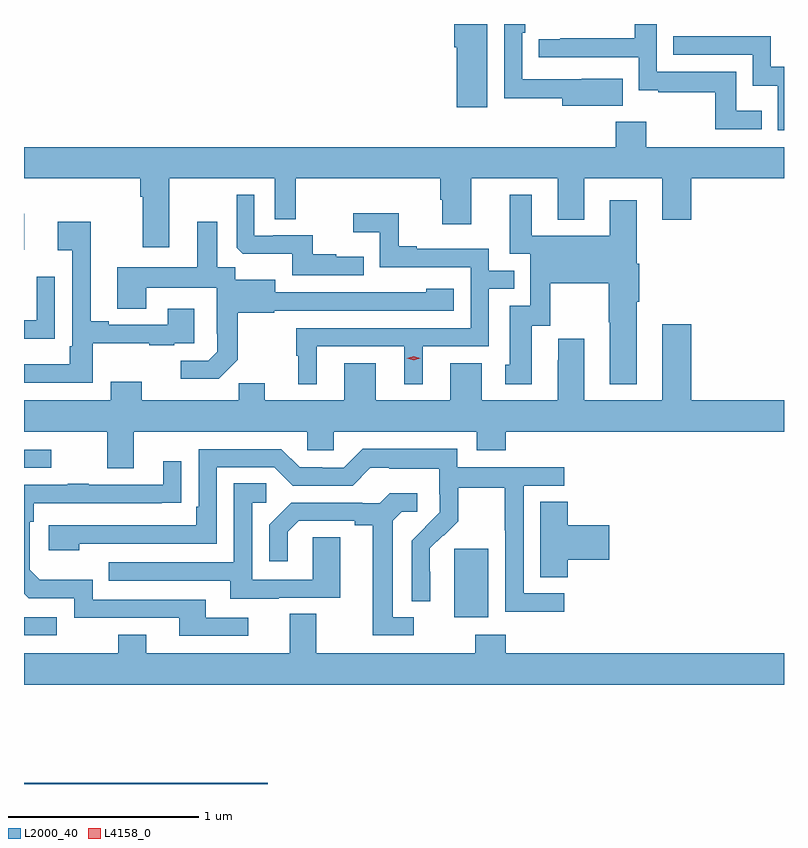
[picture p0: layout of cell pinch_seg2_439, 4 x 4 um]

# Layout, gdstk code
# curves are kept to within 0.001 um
import gdstk
lib = gdstk.Library(unit=1e-6, precision=1e-09)
def R(c, l, rs):  # rectangles x0, y0, x1, y1
    for r in rs: c.add(gdstk.rectangle(r[:2], r[2:], *l))
def P(c, l, *ps):  # polygons
    for p in ps: c.add(gdstk.Polygon(p, *l))
L2000_40 = (2000, 40)
L4158_0 = (4158, 0)

pinch_seg2_439 = lib.new_cell('pinch_seg2_439')
R(pinch_seg2_439, L2000_40, [(897.899,605.821,899.182,605.828), (897.899,606.603,898.072,606.699), (900.164,606.698,900.343,607.059), (897.899,607.485,898.042,607.581), (897.899,608.634,897.901,608.822)])
P(pinch_seg2_439, L2000_40, [(901.049,609.532),(900.835,609.532),(900.835,609.531),(900.522,609.531),(900.522,609.776),(900.536,609.776),(900.536,609.821),(900.426,609.821),(900.426,609.43),(900.731,609.43),(900.731,609.392),(901.049,609.392)],
  [(901.781,609.364),(901.647,609.364),(901.647,609.57),(901.23,609.57),(901.23,609.821),(901.114,609.821),(901.114,609.746),(900.721,609.746),(900.721,609.741),(900.609,609.741),(900.609,609.645),(901.134,609.645),(901.134,609.473),(901.237,609.473),(901.237,609.462),(901.536,609.462),(901.536,609.267),(901.781,609.267)],
  [(900.337,609.821),(900.164,609.821),(900.164,609.699),(900.176,609.699),(900.176,609.384),(900.337,609.384)],
  [(901.899,609.595),(901.83,609.595),(901.83,609.756),(901.315,609.756),(901.315,609.66),(901.734,609.66),(901.734,609.497),(901.866,609.497),(901.866,609.261),(901.899,609.261)],
  [(898.663,609.008),(899.22,609.008),(899.22,608.794),(899.329,608.794),(899.329,609.008),(900.089,609.008),(900.089,608.895),(900.101,608.895),(900.101,608.766),(900.253,608.766),(900.253,609.008),(900.707,609.008),(900.707,608.792),(900.847,608.792),(900.847,609.008),(901.259,609.008),(901.259,608.79),(901.412,608.79),(901.412,609.008),(901.899,609.008),(901.899,609.172),(901.173,609.172),(901.173,609.307),(901.013,609.307),(901.013,609.172),(897.899,609.172),(897.899,609.008),(898.511,609.008),(898.511,608.912),(898.523,608.912),(898.523,608.646),(898.663,608.646)],
  [(899.687,608.596),(899.543,608.596),(899.543,608.608),(899.42,608.608),(899.42,608.709),(899.212,608.709),(899.212,608.706),(899.112,608.706),(899.112,608.923),(899.019,608.923),(899.019,608.643),(899.051,608.612),(899.31,608.612),(899.31,608.499),(899.687,608.499)],
  [(901.123,608.36),(901.136,608.36),(901.136,608.56),(901.123,608.56),(901.123,608.893),(900.983,608.893),(900.983,608.707),(900.571,608.707),(900.571,608.923),(900.455,608.923),(900.455,608.613),(900.564,608.613),(900.564,608.337),(900.455,608.337),(900.455,608.028),(900.431,608.028),(900.431,607.926),(900.571,607.926),(900.571,608.234),(900.669,608.234),(900.669,608.456),(900.976,608.456),(900.976,608.251),(900.983,608.251),(900.983,607.925),(901.123,607.925)],
  [(899.44,608.124),(899.9,608.124),(899.9,607.925),(899.998,607.925),(899.998,608.124),(900.345,608.124),(900.345,608.427),(900.479,608.427),(900.479,608.523),(900.345,608.523),(900.345,608.637),(899.965,608.637),(899.965,608.65),(899.871,608.65),(899.871,608.825),(899.631,608.825),(899.631,608.726),(899.772,608.726),(899.772,608.541),(900.249,608.541),(900.249,608.22),(899.331,608.22),(899.331,608.076),(899.342,608.076),(899.342,607.925),(899.44,607.925)],
  [(898.261,608.141),(898.559,608.141),(898.559,608.13),(898.691,608.13),(898.691,608.142),(898.795,608.142),(898.795,608.323),(898.655,608.323),(898.655,608.238),(898.345,608.238),(898.345,608.257),(898.249,608.257),(898.249,608.779),(898.077,608.779),(898.077,608.63),(898.152,608.63),(898.152,608.125),(898.14,608.125),(898.14,608.029),(897.899,608.029),(897.899,607.932),(898.261,607.932)],
  [(899.025,608.055),(899.025,608.301),(899.217,608.301),(899.217,608.313),(900.16,608.313),(900.16,608.428),(900.015,608.428),(900.015,608.41),(899.221,608.409),(899.221,608.476),(899.01,608.476),(899.01,608.54),(898.915,608.54),(898.915,608.779),(898.811,608.779),(898.811,608.542),(898.391,608.542),(898.391,608.323),(898.543,608.323),(898.543,608.432),(898.914,608.432),(898.914,608.191),(898.916,608.191),(898.916,608.096),(898.869,608.049),(898.725,608.049),(898.725,607.955),(898.925,607.955)],
  [(898.062,608.491),(897.966,608.491),(897.966,608.262),(897.899,608.262),(897.899,608.165),(898.062,608.165)],
  [(898.477,607.676),(899.391,607.676),(899.391,607.578),(899.529,607.578),(899.529,607.676),(900.281,607.676),(900.281,607.577),(900.434,607.577),(900.434,607.676),(901.899,607.676),(901.899,607.84),(901.412,607.84),(901.412,608.242),(901.259,608.242),(901.259,607.84),(900.847,607.84),(900.847,608.164),(900.71,608.164),(900.71,608.051),(900.707,608.051),(900.707,607.84),(900.307,607.84),(900.307,608.035),(900.143,608.035),(900.143,607.84),(899.749,607.84),(899.749,608.035),(899.585,608.035),(899.585,607.84),(899.167,607.84),(899.167,607.931),(899.029,607.931),(899.029,607.84),(898.519,607.84),(898.519,607.939),(898.355,607.939),(898.355,607.84),(897.899,607.84),(897.899,607.676),(898.337,607.676),(898.337,607.482),(898.477,607.482)],
  [(900.742,606.825),(900.528,606.825),(900.528,607.392),(900.742,607.392),(900.742,607.488),(900.18,607.488),(900.18,607.585),(899.683,607.585),(899.583,607.485),(899.468,607.485),(899.468,607.488),(899.349,607.488),(899.253,607.584),(898.818,607.584),(898.818,607.279),(898.805,607.279),(898.805,607.182),(898.029,607.182),(898.029,607.052),(898.19,607.052),(898.19,607.086),(898.914,607.086),(898.914,607.488),(899.217,607.488),(899.313,607.392),(899.628,607.392),(899.721,607.485),(899.821,607.485),(899.821,607.481),(900.084,607.481),(900.084,607.347),(900.086,607.347),(900.086,607.25),(899.94,607.102),(899.94,606.784),(900.036,606.784),(900.035,607.061),(900.105,607.131),(900.108,607.128),(900.185,607.205),(900.185,607.38),(900.43,607.38),(900.43,607.156),(900.432,607.156),(900.432,606.727),(900.742,606.727)],
  [(899.08,606.696),(898.855,606.696),(898.855,606.792),(898.26,606.792),(898.26,606.895),(897.983,606.895),(897.93,606.948),(897.93,607.202),(897.95,607.202),(897.95,607.299),(898.727,607.3),(898.727,607.519),(898.631,607.519),(898.631,607.395),(898.241,607.395),(898.241,607.4),(898.129,607.4),(898.129,607.395),(897.899,607.395),(897.899,606.823),(897.924,606.798),(898.164,606.798),(898.164,606.696),(898.715,606.696),(898.715,606.6),(899.08,606.6)],
  [(899.239,606.801),(899.563,606.801),(899.563,607.121),(899.418,607.121),(899.418,606.897),(899.1,606.897),(899.1,607.302),(899.173,607.302),(899.173,607.403),(899.004,607.403),(899.004,606.987),(898.345,606.987),(898.345,606.891),(898.985,606.891),(898.985,606.797),(899.239,606.797)],
  [(899.95,606.699),(899.839,606.699),(899.839,607.207),(899.886,607.254),(899.968,607.254),(899.968,607.351),(899.824,607.351),(899.772,607.299),(899.678,607.299),(899.678,607.302),(899.306,607.302),(899.19,607.186),(899.19,606.993),(899.287,606.993),(899.287,607.149),(899.344,607.206),(899.639,607.206),(899.639,607.184),(899.735,607.184),(899.735,606.603),(899.95,606.603)],
  [(900.761,607.001),(900.979,607.001),(900.979,607.184),(900.761,607.184),(900.761,607.307),(900.617,607.307),(900.617,606.91),(900.761,606.91)],
  [(901.899,606.508),(900.434,606.508),(900.434,606.607),(900.274,606.607),(900.274,606.508),(899.437,606.508),(899.437,606.716),(899.297,606.716),(899.297,606.508),(898.543,606.508),(898.543,606.607),(898.396,606.607),(898.396,606.508),(897.899,606.508),(897.899,606.344),(901.899,606.344)])
P(pinch_seg2_439, L4158_0, [(899.949,608.052),(899.913,608.062),(899.913,608.062),(899.913,608.062),(899.949,608.072),(899.985,608.062),(899.985,608.062),(899.985,608.062)])

lib.write_gds('pinch_seg2_439.gds')
